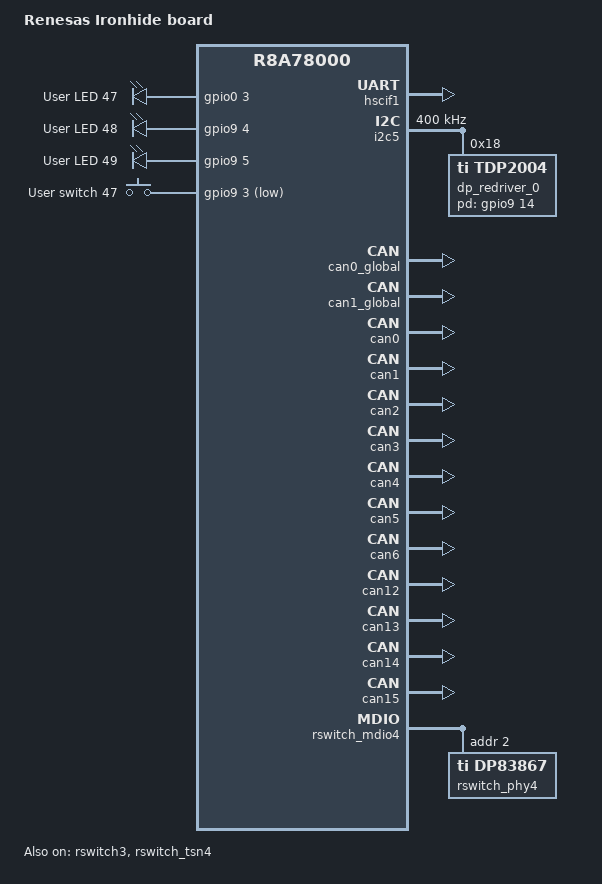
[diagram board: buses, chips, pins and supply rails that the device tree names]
/*
 * Copyright (c) 2026 BayLibre, SAS
 *
 * SPDX-License-Identifier: Apache-2.0
 *
 */

/dts-v1/;
#include <arm/renesas/rcar/gen5/r8a78000.dtsi>
#include "rcar_ironhide_x5h_r8a78000_r52-pinctrl.dtsi"
#include <zephyr/dt-bindings/input/input-event-codes.h>

/ {
	model = "Renesas Ironhide board";
	compatible = "renesas,ironhide-x5h-r52";

	chosen {
		zephyr,sram = &sram0;
		zephyr,console = &hscif1;
		zephyr,shell-uart = &hscif1;
		zephyr,canbus = &can0;
	};

	aliases {
		led0 = &user_led_0;
		led1 = &user_led_1;
		led2 = &user_led_2;
		sw0 = &user_button_0;
		sw1 = &user_button_1;
		sw2 = &user_button_2;
	};

	leds {
		compatible = "gpio-leds";

		user_led_0: led47 {
			gpios = <&gpio0 3 GPIO_ACTIVE_HIGH>;
			label = "User LED 47";
		};

		user_led_1: led48 {
			gpios = <&gpio9 4 GPIO_ACTIVE_HIGH>;
			label = "User LED 48";
		};

		user_led_2: led49 {
			gpios = <&gpio9 5 GPIO_ACTIVE_HIGH>;
			label = "User LED 49";
		};
	};

	gpio_keys {
		compatible = "gpio-keys";

		/*
		 * In the current boot process, u-boot configures GPIO9_01 and GPIO9_02
		 * for ethernet after booting Zephyr on Cortex-R52. So, let's disable
		 * sw45 and sw46 buttons by default even if they are present on the board.
		 */
		user_button_0: sw45 {
			gpios = <&gpio9 1 GPIO_ACTIVE_LOW>;
			label = "User switch 45";
			zephyr,code = <INPUT_KEY_0>;
			status = "disabled";
		};

		user_button_1: sw46 {
			gpios = <&gpio9 2 GPIO_ACTIVE_LOW>;
			label = "User switch 46";
			zephyr,code = <INPUT_KEY_1>;
			status = "disabled";
		};

		user_button_2: sw47 {
			gpios = <&gpio9 3 GPIO_ACTIVE_LOW>;
			label = "User switch 47";
			zephyr,code = <INPUT_KEY_2>;
		};
	};
};

&hscif1 {
	pinctrl-0 = <&hscif1_data_tx_default
		     &hscif1_data_rx_default>;
	pinctrl-names = "default";
	status = "okay";
};

&gpio0 {
	pinctrl-0 = <&gpio0_3_default>;
	pinctrl-names = "default";
	status = "okay";
};

&gpio9 {
	pinctrl-0 = <&gpio9_3_default
		     &gpio9_4_default
		     &gpio9_5_default
		     &gpio9_14_default>;
	pinctrl-names = "default";
	status = "okay";
};

&i2c5 {
	pinctrl-0 = <&i2c5_scl_default
		     &i2c5_sda_default>;
	pinctrl-names = "default";
	clock-frequency = <I2C_BITRATE_FAST>;
	status = "okay";

	dp_redriver_0: displayport-redriver@18 {
		compatible = "ti,tdp2004";
		reg = <0x18>;
		pd-gpios = <&gpio9 14 GPIO_ACTIVE_HIGH>;
	};
};

&can0_global {
	status = "okay";
};

&can1_global {
	status = "okay";
};

&can0 {
	pinctrl-0 = <&can0_rx_default
		     &can0_tx_default>;
	pinctrl-names = "default";
	status = "okay";
};

&can1 {
	pinctrl-0 = <&can1_rx_default
		     &can1_tx_default>;
	pinctrl-names = "default";
	status = "okay";
};

&can2 {
	pinctrl-0 = <&can2_rx_default
		     &can2_tx_default>;
	pinctrl-names = "default";
	status = "okay";
};

&can3 {
	pinctrl-0 = <&can3_rx_default
		     &can3_tx_default>;
	pinctrl-names = "default";
	status = "okay";
};

&can4 {
	pinctrl-0 = <&can4_rx_default
		     &can4_tx_default>;
	pinctrl-names = "default";
	status = "okay";
};

&can5 {
	pinctrl-0 = <&can5_rx_default
		     &can5_tx_default>;
	pinctrl-names = "default";
	status = "okay";
};

&can6 {
	pinctrl-0 = <&can6_rx_default
		     &can6_tx_default>;
	pinctrl-names = "default";
	status = "okay";
};

&can12 {
	pinctrl-0 = <&can12_rx_default
		     &can12_tx_default>;
	pinctrl-names = "default";
	status = "okay";
};

&can13 {
	pinctrl-0 = <&can13_rx_default
		     &can13_tx_default>;
	pinctrl-names = "default";
	status = "okay";
};

&can14 {
	pinctrl-0 = <&can14_rx_default
		     &can14_tx_default>;
	pinctrl-names = "default";
	status = "okay";
};

&can15 {
	pinctrl-0 = <&can15_rx_default
		     &can15_tx_default>;
	pinctrl-names = "default";
	status = "okay";
};

&rswitch3 {
	// TODO
	status = "okay";

	/*port0 {
		// TEST
		//id = <0>;
		//phy-handle = <&eth_phy_0>;
		local-mac-address = [B0 0B C1 A0 BE EF];*/

		/*phy {
			compatible = "ti,dp83867";
			status = "okay";
			reg = <0>;
			ti,interface-type = "rgmii";
		};*/

		/*mdio0 {
			compatible = "renesas,rcar-rswitch-mdio";
			#address-cells = <1>;
			#size-cells = <0>;
			status = "okay";
		};
	};

	port3 {
		// TEST
		//id = <3>;
		//phy-handle = <&eth_phy_3>;
		local-mac-address = [DE AD F0 CC AC 1A];

		mdio3 {
			compatible = "renesas,rcar-rswitch-mdio";
			#address-cells = <1>;
			#size-cells = <0>;
			status = "okay";
		};
	};

	port5 {
		// TEST
		//id = <3>;
		//phy-handle = <&eth_phy_3>;
		local-mac-address = [12 34 56 78 9A BC];

		mdio5 {
			compatible = "renesas,rcar-rswitch-mdio";
			#address-cells = <1>;
			#size-cells = <0>;
			status = "okay";
		};
	};

	port6 {
		// TEST
		//id = <6>;
		//phy-handle = <&eth_phy_6>;
		zephyr,random-mac-address;

		mdio6 {
			compatible = "renesas,rcar-rswitch-mdio";
			#address-cells = <1>;
			#size-cells = <0>;
			status = "okay";
		};
	};

	port7 {
		// TEST
		//id = <7>;
		//phy-handle = <&eth_phy_7>;
		local-mac-address = [FA DA CA CA BA BE];

		mdio7 {
			compatible = "renesas,rcar-rswitch-mdio";
			#address-cells = <1>;
			#size-cells = <0>;
			status = "okay";
		};
	};*/

	/*mdio {
		compatible = "renesas,rcar-rswitch-mdio";
		#address-cells = <1>;
		#size-cells = <0>;
		status = "okay";*/

		/*eth_phy_0: ethernet-phy@1 {
			reg = <0x1>;
			compatible = "ti,dp83867"; // TEST
			ti,interface-type = "rgmii";
			status = "okay";
		};*/

		/*eth_phy_3: ethernet-phy@2 {
			reg = <0x2>;
			compatible = "ti,dp83867"; // TEST
			ti,interface-type = "rgmii";
			status = "okay";
		};

		eth_phy_6: ethernet-phy@3{
			reg = <0x3>;
			compatible = "ti,dp83867"; // TEST
			ti,interface-type = "rgmii";
			status = "okay";
		};

		eth_phy_7: ethernet-phy@4{
			reg = <0x4>;
			compatible = "ti,dp83867"; // TEST
			ti,interface-type = "rgmii";
			status = "okay";
		};*/
	//};
};

&rswitch_tsn0 {
	phy-handle = <&rswitch_phy0>;
	status = "disabled";
};

&rswitch_tsn4 {
	local-mac-address = [FA DA CA CA BA 04];
	phy-handle = <&rswitch_phy4>;
	phy-connection-type = "gmii";
	status = "okay";
};

&rswitch_tsn5 {
	local-mac-address = [FA DA CA CA BA 05];
	phy-handle = <&rswitch_phy5>;
	//status = "okay";
	status = "disabled";
};

&rswitch_mdio0 {
	status = "disabled";

	// TEST
	rswitch_phy0: ethernet-phy@9 {
		compatible = "ethernet-phy";
		reg = <9>;
		default-speeds = "10BASE Half-Duplex";
		status = "disabled";
	};
};

&rswitch_mdio4 {
	pinctrl-0 = <&rswitch_etha4_phyint_default
		     &rswitch_etha4_link_default
		     &rswitch_etha4_mdc_default
		     &rswitch_etha4_mdio_default>;
	pinctrl-names = "default";
	status = "okay";

	rswitch_phy4: ethernet-phy@2 {
		compatible = "ti,dp83867";
		reg = <2>;
		ti,interface-type = "gmii";
		default-speeds = "1000BASE Full-Duplex";
		status = "okay";
	};
};

&rswitch_mdio5 {
	// TODO TEST
	pinctrl-0 = <&rswitch_etha4_phyint_default
		     &rswitch_etha4_link_default
		     &rswitch_etha4_mdc_default
		     &rswitch_etha4_mdio_default>;
	pinctrl-names = "default";
	//status = "okay";
	status = "disabled";

	// TODO test avec 3 pour ne pas écrire sur le vrai PHY
	//ethernet-phy@2 {
	rswitch_phy5: ethernet-phy@3 {
		compatible = "ethernet-phy"; // TEST
		//reg = <2>;
		reg = <3>;
		default-speeds = "1000BASE Full-Duplex";
		//status = "okay";
		status = "disabled";
	};
};
